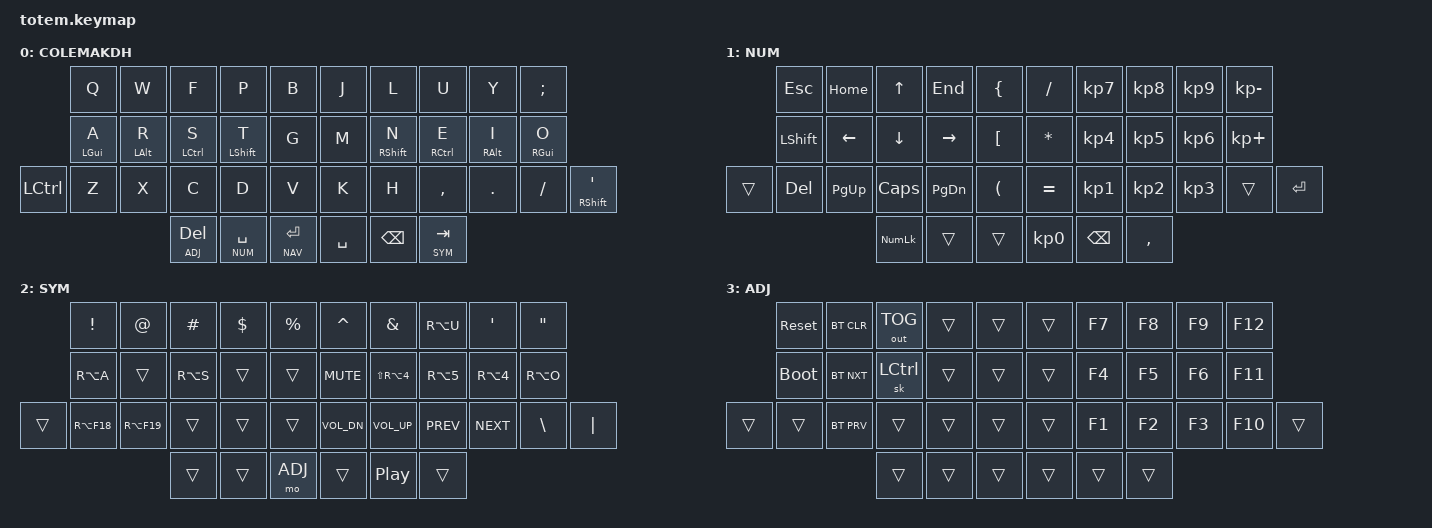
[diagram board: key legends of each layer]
//
//                                                        ▀▀▀▀▀     ▀▀▀▀▀          ▀▀█▀▀
//                                                        ▄▀▀▀▄  ▄  ▄▀▀▀▄  ▄  ▄▀▀▀▄  █  ▄▀▀▀▄
//                                                        █   █  █  █   █  █  █   █  █  █   █
//                                                         ▀▀▀   █   ▀▀▀   █   ▀▀▀   ▀   ▀▀▀
//                                                               █      ▄▄▄█▄▄▄    █   █  
//                                                               ▀      █  █  █     █▄█
//                                                             ▀▀▀▀▀    █  █  █      ▀
//                                                                      ▀  ▀  ▀
//
// ▄▄▄▄▄▄▄▄▄▄▄▄▄▄▄▄▄▄▄▄▄▄▄▄▄▄▄▄▄▄▄▄▄▄▄▄▄▄▄▄▄▄▄▄▄▄▄▄▄▄▄▄▄▄▄▄▄▄▄▄▄▄▄▄▄▄▄▄▄▄▄▄▄▄▄▄▄▄▄▄▄▄▄▄▄▄▄▄▄▄▄▄▄▄▄▄▄▄▄▄▄▄▄▄▄▄▄▄▄▄▄▄▄▄▄▄▄▄▄▄▄▄▄▄▄▄▄▄▄▄▄▄▄▄▄▄▄▄▄▄▄▄▄▄▄▄▄▄▄
       

#include <behaviors.dtsi>
#include <dt-bindings/zmk/keys.h>
#include <dt-bindings/zmk/bt.h>
#include <dt-bindings/zmk/outputs.h>

#include "./helper.h"
#include "./keypos_38keys.h"

#define ___ &trans

#define COLEMAKDH 0
#define NUM  1
#define SYM  2
#define ADJ  3
#define NAV  4

#define COMBO_TERM_FAST 14
#define COMBO_TERM_NORMAL 30
#define COMBO_TERM_SLOW 45

#define KEYS_L LT0 LT1 LT2 LT3 LT4 LM0 LM1 LM2 LM3 LM4 LB0 LB1 LB2 LB3 LB4 LB5  // left-hand keys
#define KEYS_R RT0 RT1 RT2 RT3 RT4 RM0 RM1 RM2 RM3 RM4 RB0 RB1 RB2 RB3 RB4 RB5 // right-hand keys
#define THUMBS LH2 LH1 LH0 RH0 RH1 RH2                                      // thumb keys

/* left-hand HRMs */
ZMK_BEHAVIOR(hml, hold_tap,
    flavor = "balanced";
    tapping-term-ms = <250>;
    quick-tap-ms = <175>;                // repeat on tap-into-hold
    require-prior-idle-ms = <150>;
    bindings = <&kp>, <&kp>;
    hold-trigger-key-positions = <KEYS_R THUMBS>;
    hold-trigger-on-release;             // delay positional check until key-release
)

/* right-hand HRMs */
ZMK_BEHAVIOR(hmr, hold_tap,
    flavor = "balanced";
    tapping-term-ms = <250>;
    quick-tap-ms = <175>;                // repeat on tap-into-hold
    require-prior-idle-ms = <150>;
    bindings = <&kp>, <&kp>;
    hold-trigger-key-positions = <KEYS_L THUMBS>;
    hold-trigger-on-release;             // delay positional check until key-release
)

/*                      
38 KEY MATRIX 
       
   ╭────────────────────┬────────────────────╮     
   │  0   1   2   3   4 │  5   6   7   8   9 │      
╭──╯ 10  11  12  13  14 │ 15  16  17  18  19 ╰───╮ 
│ 20 21  22  23  24  25 │ 26  27  28  29  30  31 │ 
╰──────────╮ 32  33  34 │ 35  36  37 ╭───────────╯ 
	       ╰────────────┴────────────╯             
*/
//Left
ZMK_COMBO(esc,&kp ESC,0 1,COLEMAKDH,COMBO_TERM_NORMAL)
ZMK_COMBO(lbrc,&kp LBRC,1 2,COLEMAKDH,COMBO_TERM_NORMAL)
ZMK_COMBO(rbrc,&kp RBRC,2 3,COLEMAKDH,COMBO_TERM_NORMAL)
ZMK_COMBO(lpar,&kp LPAR,11 12,COLEMAKDH,COMBO_TERM_NORMAL)
ZMK_COMBO(rpar,&kp RPAR,12 13,COLEMAKDH,COMBO_TERM_NORMAL)
ZMK_COMBO(lbkt,&kp LBKT,22 23,COLEMAKDH,COMBO_TERM_NORMAL)
ZMK_COMBO(rbkt,&kp RBKT,23 24,COLEMAKDH,COMBO_TERM_NORMAL)

//Right
ZMK_COMBO(minus,&kp MINUS,6 7,COLEMAKDH,COMBO_TERM_NORMAL)
ZMK_COMBO(under,&kp UNDER,7 8,COLEMAKDH,COMBO_TERM_NORMAL)
ZMK_COMBO(astrk,&kp ASTRK,16 17,COLEMAKDH,COMBO_TERM_NORMAL)
ZMK_COMBO(equal,&kp EQUAL,17 18,COLEMAKDH,COMBO_TERM_NORMAL)
ZMK_COMBO(less,&kp LT,27 28,COLEMAKDH,COMBO_TERM_NORMAL)
ZMK_COMBO(grtr,&kp GT,28 29,COLEMAKDH,COMBO_TERM_NORMAL)


   
/ {
        keymap {
                compatible = "zmk,keymap";
// ▄▄▄▄▄▄▄▄▄▄▄▄▄▄▄▄▄▄▄▄▄▄▄▄▄▄▄▄▄▄▄▄▄▄▄▄▄▄▄▄▄▄▄▄▄▄▄▄▄▄▄▄▄▄▄▄▄▄▄▄▄▄▄▄▄▄▄▄▄▄▄▄▄▄▄▄▄▄▄▄▄▄▄▄▄▄▄▄▄▄▄▄▄▄▄▄▄▄▄▄▄▄▄▄▄▄▄▄▄▄▄▄▄▄▄▄▄▄▄▄▄▄▄▄▄▄▄▄▄▄▄▄▄▄▄▄▄▄▄▄▄▄▄▄▄▄▄▄▄

                colemak-dh_layer {
// ┏━━━━━━━━━━━━━━━━━━━━━━━━━━━━━━━━━━━━━━━┓
label= "COLEMAKDH"                         ;
// ┗━━━━━━━━━━━━━━━━━━━━━━━━━━━━━━━━━━━━━━━┛
//             ┏━━━━━━━━━━━┳━━━━━━━━━━━┳━━━━━━━━━━━┳━━━━━━━━━━━┳━━━━━━━━━━━┓   ┏━━━━━━━━━━━┳━━━━━━━━━━━┳━━━━━━━━━━━┳━━━━━━━━━━━┳━━━━━━━━━━━┓
//             ┃     Q     ┃     W     ┃     F     ┃     P     ┃     B     ┃   ┃     J     ┃     L     ┃     U     ┃     Y     ┃     ;     ┃
//             ┣━━━━━━━━━━━╋━━━━━━━━━━━╋━━━━━━━━━━━╋━━━━━━━━━━━╋━━━━━━━━━━━┫   ┣━━━━━━━━━━━╋━━━━━━━━━━━╋━━━━━━━━━━━╋━━━━━━━━━━━╋━━━━━━━━━━━┫
//             ┃     A     ┃     R     ┃     S     ┃     T     ┃     G     ┃   ┃     M     ┃     N     ┃     E     ┃     I     ┃     O     ┃
// ┏━━━━━━━━━━━╋━━━━━━━━━━━╋━━━━━━━━━━━╋━━━━━━━━━━━╋━━━━━━━━━━━╋━━━━━━━━━━━┫   ┣━━━━━━━━━━━╋━━━━━━━━━━━╋━━━━━━━━━━━╋━━━━━━━━━━━╋━━━━━━━━━━━╋━━━━━━━━━━━┓
// ┃     Q     ┃     Z     ┃     X     ┃     C     ┃     D     ┃     V     ┃   ┃     K     ┃     H     ┃     ,     ┃     .     ┃     /     ┃     "     ┃
// ┗━━━━━━━━━━━┻━━━━━━━━━━━┻━━━━━━━━━━━╋━━━━━━━━━━━╋━━━━━━━━━━━╋━━━━━━━━━━━┫   ┣━━━━━━━━━━━╋━━━━━━━━━━━╋━━━━━━━━━━━╋━━━━━━━━━━━┻━━━━━━━━━━━┻━━━━━━━━━━━┛
//                                     ┃    DEL    ┃   SPACE   ┃   ENTER   ┃   ┃   SPACE   ┃    BSPC   ┃   TAB     ┃
//                                     ┗━━━━━━━━━━━┻━━━━━━━━━━━┻━━━━━━━━━━━┛   ┗━━━━━━━━━━━┻━━━━━━━━━━━┻━━━━━━━━━━━┛
 bindings = <
// ╷           ╷           ╷           ╷           ╷           ╷           ╷   ╷           ╷           ╷           ╷           ╷           ╷           ╷

                &kp Q        &kp W        &kp F        &kp P         &kp B           &kp J          &kp L         &kp U        &kp Y        &kp SEMI
                &hml LGUI A  &hml LALT R  &hml LCTRL S &hml LSHFT T  &kp G           &kp M          &hmr RSHFT N  &hmr RCTRL E &hmr RALT I  &hmr RGUI O
    &kp LCTRL   &kp Z        &kp X        &kp C        &kp D         &kp V           &kp K          &kp H         &kp COMMA    &kp DOT      &kp FSLH     &hmr RSHIFT APOS
                                          &lt ADJ DEL  &lt NUM SPACE &lt NAV RET     &kp SPACE      &kp BSPC      &lt SYM TAB
                        >;
                };

// ▄▄▄▄▄▄▄▄▄▄▄▄▄▄▄▄▄▄▄▄▄▄▄▄▄▄▄▄▄▄▄▄▄▄▄▄▄▄▄▄▄▄▄▄▄▄▄▄▄▄▄▄▄▄▄▄▄▄▄▄▄▄▄▄▄▄▄▄▄▄▄▄▄▄▄▄▄▄▄▄▄▄▄▄▄▄▄▄▄▄▄▄▄▄▄▄▄▄▄▄▄▄▄▄▄▄▄▄▄▄▄▄▄▄▄▄▄▄▄▄▄▄▄▄▄▄▄▄▄▄▄▄▄▄▄▄▄▄▄▄▄▄▄▄▄▄▄▄▄


                num_layer {
// ┏━━━━━━━━━━━━━━━━━━━━━━━━━━━━━━━━━━━━━━━┓
label= "NUM"                              ;
// ┗━━━━━━━━━━━━━━━━━━━━━━━━━━━━━━━━━━━━━━━┛
//             ┏━━━━━━━━━━━┳━━━━━━━━━━━┳━━━━━━━━━━━┳━━━━━━━━━━━┳━━━━━━━━━━━┓   ┏━━━━━━━━━━━┳━━━━━━━━━━━┳━━━━━━━━━━━┳━━━━━━━━━━━┳━━━━━━━━━━━┓
//             ┃    ESC    ┃   HOME    ┃     UP    ┃    END    ┃     {     ┃   ┃     /     ┃     7     ┃     8     ┃     9     ┃     -     ┃
//             ┣━━━━━━━━━━━╋━━━━━━━━━━━╋━━━━━━━━━━━╋━━━━━━━━━━━╋━━━━━━━━━━━┫   ┣━━━━━━━━━━━╋━━━━━━━━━━━╋━━━━━━━━━━━╋━━━━━━━━━━━╋━━━━━━━━━━━┫
//             ┃   SHIFT   ┃   LEFT    ┃    DOWN   ┃   RIGHT   ┃     [     ┃   ┃     *     ┃     4     ┃     5     ┃     6     ┃     +     ┃
// ┏━━━━━━━━━━━╋━━━━━━━━━━━╋━━━━━━━━━━━╋━━━━━━━━━━━╋━━━━━━━━━━━╋━━━━━━━━━━━┫   ┣━━━━━━━━━━━╋━━━━━━━━━━━╋━━━━━━━━━━━╋━━━━━━━━━━━╋━━━━━━━━━━━╋━━━━━━━━━━━┓
// ┃           ┃     DEL   ┃   P UP    ┃  C LOCK   ┃  P DOWN   ┃     (     ┃   ┃     =     ┃     1     ┃     2     ┃     3     ┃           ┃    RET    ┃
// ┗━━━━━━━━━━━┻━━━━━━━━━━━┻━━━━━━━━━━━╋━━━━━━━━━━━╋━━━━━━━━━━━╋━━━━━━━━━━━┫   ┣━━━━━━━━━━━╋━━━━━━━━━━━╋━━━━━━━━━━━╋━━━━━━━━━━━┻━━━━━━━━━━━┻━━━━━━━━━━━┛
//                                     ┃    NUM    ┃    TAB    ┃    SPC    ┃   ┃     0     ┃    BSPC   ┃     ,     ┃
//                                     ┗━━━━━━━━━━━┻━━━━━━━━━━━┻━━━━━━━━━━━┛   ┗━━━━━━━━━━━┻━━━━━━━━━━━┻━━━━━━━━━━━┛
 bindings = <
// ╷           ╷           ╷           ╷           ╷           ╷           ╷   ╷           ╷           ╷           ╷           ╷           ╷           ╷

                &kp ESC     &kp HOME    &kp UP        &kp END     &kp LBRC        &kp FSLH    &kp KP_N7   &kp KP_N8   &kp KP_N9   &kp KP_MINUS
                &kp LSHFT   &kp LEFT    &kp DOWN      &kp RIGHT   &kp LBKT        &kp ASTRK   &kp KP_N4   &kp KP_N5   &kp KP_N6   &kp KP_PLUS
    &trans      &kp DEL     &kp PG_UP   &kp CAPS      &kp PG_DN   &kp LPAR        &kp EQUAL   &kp KP_N1   &kp KP_N2   &kp KP_N3   &trans       &kp RET      
                                        &kp KP_NLCK   &trans      &trans          &kp KP_N0   &kp BSPC    &kp COMMA      
                        >;
                };

// ▄▄▄▄▄▄▄▄▄▄▄▄▄▄▄▄▄▄▄▄▄▄▄▄▄▄▄▄▄▄▄▄▄▄▄▄▄▄▄▄▄▄▄▄▄▄▄▄▄▄▄▄▄▄▄▄▄▄▄▄▄▄▄▄▄▄▄▄▄▄▄▄▄▄▄▄▄▄▄▄▄▄▄▄▄▄▄▄▄▄▄▄▄▄▄▄▄▄▄▄▄▄▄▄▄▄▄▄▄▄▄▄▄▄▄▄▄▄▄▄▄▄▄▄▄▄▄▄▄▄▄▄▄▄▄▄▄▄▄▄▄▄▄▄▄▄▄▄▄


                sim_layer {
// ┏━━━━━━━━━━━━━━━━━━━━━━━━━━━━━━━━━━━━━━━┓
label= "SYM"                               ;
// ┗━━━━━━━━━━━━━━━━━━━━━━━━━━━━━━━━━━━━━━━┛
//             ┏━━━━━━━━━━━┳━━━━━━━━━━━┳━━━━━━━━━━━┳━━━━━━━━━━━┳━━━━━━━━━━━┓   ┏━━━━━━━━━━━┳━━━━━━━━━━━┳━━━━━━━━━━━┳━━━━━━━━━━━┳━━━━━━━━━━━┓
//             ┃     !     ┃     @     ┃     #     ┃     $     ┃     %     ┃   ┃     ˆ     ┃     &     ┃     Ü     ┃     '     ┃     "     ┃
//             ┣━━━━━━━━━━━╋━━━━━━━━━━━╋━━━━━━━━━━━╋━━━━━━━━━━━╋━━━━━━━━━━━┫   ┣━━━━━━━━━━━╋━━━━━━━━━━━╋━━━━━━━━━━━╋━━━━━━━━━━━╋━━━━━━━━━━━┫
//             ┃     Ä     ┃           ┃    SZ     ┃           ┃           ┃   ┃   MUTE    ┃   YEN     ┃   EURO    ┃  POUND    ┃     Ö     ┃
// ┏━━━━━━━━━━━╋━━━━━━━━━━━╋━━━━━━━━━━━╋━━━━━━━━━━━╋━━━━━━━━━━━╋━━━━━━━━━━━┫   ┣━━━━━━━━━━━╋━━━━━━━━━━━╋━━━━━━━━━━━╋━━━━━━━━━━━╋━━━━━━━━━━━╋━━━━━━━━━━━┓
// ┃           ┃  EMAIL1   ┃  EMAIL2   ┃           ┃           ┃           ┃   ┃   VOL-    ┃   VOL+    ┃   LAST    ┃   NEXT    ┃     \     ┃    ┃      ┃
// ┗━━━━━━━━━━━┻━━━━━━━━━━━┻━━━━━━━━━━━╋━━━━━━━━━━━╋━━━━━━━━━━━╋━━━━━━━━━━━┫   ┣━━━━━━━━━━━╋━━━━━━━━━━━╋━━━━━━━━━━━╋━━━━━━━━━━━┻━━━━━━━━━━━┻━━━━━━━━━━━┛
//                                     ┃           ┃           ┃    ADJ    ┃   ┃           ┃           ┃           ┃
//                                     ┗━━━━━━━━━━━┻━━━━━━━━━━━┻━━━━━━━━━━━┛   ┗━━━━━━━━━━━┻━━━━━━━━━━━┻━━━━━━━━━━━┛
 bindings = <
// ╷           ╷           ╷           ╷           ╷           ╷           ╷   ╷           ╷           ╷           ╷           ╷           ╷           ╷

                &kp EXCL    &kp AT      &kp HASH    &kp DLLR    &kp PRCNT       &kp CARET   &kp AMPS    &kp RA(U)   &kp SQT     &kp DQT       
                &kp RA(A)   &trans      &kp RA(S)   &trans      &trans          &kp C_MUTE  &kp LS(RA(N4)) &kp RA(N5) &kp RA(N4)   &kp RA(O) 
    &trans      &kp RA(F18) &kp RA(F19) &trans      &trans      &trans          &kp C_VOL_DN &kp C_VOL_UP &kp C_PREV &kp C_NEXT  &kp BSLH   &kp PIPE         
                                        &trans      &trans      &mo ADJ         &trans      &kp C_PP    &trans      
                        >;
                };

// ▄▄▄▄▄▄▄▄▄▄▄▄▄▄▄▄▄▄▄▄▄▄▄▄▄▄▄▄▄▄▄▄▄▄▄▄▄▄▄▄▄▄▄▄▄▄▄▄▄▄▄▄▄▄▄▄▄▄▄▄▄▄▄▄▄▄▄▄▄▄▄▄▄▄▄▄▄▄▄▄▄▄▄▄▄▄▄▄▄▄▄▄▄▄▄▄▄▄▄▄▄▄▄▄▄▄▄▄▄▄▄▄▄▄▄▄▄▄▄▄▄▄▄▄▄▄▄▄▄▄▄▄▄▄▄▄▄▄▄▄▄▄▄▄▄▄▄▄▄


                adjust_layer {
// ┏━━━━━━━━━━━━━━━━━━━━━━━━━━━━━━━━━━━━━━━┓
label= "ADJ"                               ;
// ┗━━━━━━━━━━━━━━━━━━━━━━━━━━━━━━━━━━━━━━━┛
//             ┏━━━━━━━━━━━┳━━━━━━━━━━━┳━━━━━━━━━━━┳━━━━━━━━━━━┳━━━━━━━━━━━┓   ┏━━━━━━━━━━━┳━━━━━━━━━━━┳━━━━━━━━━━━┳━━━━━━━━━━━┳━━━━━━━━━━━┓
//             ┃   RESET   ┃ BT CLEAR  ┃  OUT TOG  ┃           ┃           ┃   ┃           ┃    F7     ┃    F8     ┃    F9     ┃    F12    ┃
//             ┣━━━━━━━━━━━╋━━━━━━━━━━━╋━━━━━━━━━━━╋━━━━━━━━━━━╋━━━━━━━━━━━┫   ┣━━━━━━━━━━━╋━━━━━━━━━━━╋━━━━━━━━━━━╋━━━━━━━━━━━╋━━━━━━━━━━━┫
//             ┃ BOOTLOAD  ┃ BT NEXT   ┃   LCTRL   ┃           ┃           ┃   ┃           ┃    F4     ┃    F5     ┃    F6     ┃    F11    ┃
// ┏━━━━━━━━━━━╋━━━━━━━━━━━╋━━━━━━━━━━━╋━━━━━━━━━━━╋━━━━━━━━━━━╋━━━━━━━━━━━┫   ┣━━━━━━━━━━━╋━━━━━━━━━━━╋━━━━━━━━━━━╋━━━━━━━━━━━╋━━━━━━━━━━━╋━━━━━━━━━━━┓
// ┃           ┃           ┃ BT PREV   ┃           ┃           ┃           ┃   ┃           ┃    F1     ┃    F2     ┃    F3     ┃    F10    ┃           ┃
// ┗━━━━━━━━━━━┻━━━━━━━━━━━┻━━━━━━━━━━━╋━━━━━━━━━━━╋━━━━━━━━━━━╋━━━━━━━━━━━┫   ┣━━━━━━━━━━━╋━━━━━━━━━━━╋━━━━━━━━━━━╋━━━━━━━━━━━┻━━━━━━━━━━━┻━━━━━━━━━━━┛
//                                     ┃           ┃           ┃           ┃   ┃           ┃           ┃           ┃
//                                     ┗━━━━━━━━━━━┻━━━━━━━━━━━┻━━━━━━━━━━━┛   ┗━━━━━━━━━━━┻━━━━━━━━━━━┻━━━━━━━━━━━┛
 bindings = <
// ╷           ╷           ╷           ╷           ╷           ╷           ╷   ╷           ╷           ╷           ╷           ╷           ╷           ╷

                &sys_reset  &bt BT_CLR &out OUT_TOG &trans      &trans          &trans      &kp F7      &kp F8      &kp F9      &kp F12
                &bootloader &bt BT_NXT  &sk LCTRL   &trans      &trans          &trans      &kp F4      &kp F5      &kp F6      &kp F11  
    &trans      &trans      &bt BT_PRV  &trans      &trans      &trans          &trans      &kp F1      &kp F2      &kp F3      &kp F10     &trans         
                                        &trans      &trans      &trans          &trans      &trans      &trans      
                        >;
                };
        };
};

ZMK_LAYER(nav_layer,
     	   //   ╭─────────────┬─────────────┬─────────────┬─────────────┬─────────────╮   ╭─────────────┬─────────────┬─────────────┬─────────────┬─────────────╮
     	             ___           ___           ___           ___           ___             &kp PG_UP     &kp HOME      &kp UP        &kp END       &kp INS
  	   //   ├─────────────┼─────────────┼─────────────┼─────────────┼─────────────┤   ├─────────────┼─────────────┼─────────────┼─────────────┼─────────────┤
 	           &sk LGUI      &sk LALT      &sk LCTRL     &sk LSHFT       ___             &kp PG_DN     &kp LEFT      &kp DOWN      &kp RIGHT     &kp DEL
//╭─────────────├─────────────┼─────────────┼─────────────┼─────────────┼─────────────┤   ├─────────────┼─────────────┼─────────────┼─────────────┼─────────────┤─────────────╮
      ___ 	   ___           ___           ___           ___           ___               ___           &kp LC(X)     &kp LC(INS)   &kp LS(INS)      ___            ___
//╰─────────────├─────────────┼─────────────┼─────────────┼─────────────┼─────────────┤   ├─────────────┼─────────────┼─────────────┼─────────────┼─────────────┤─────────────╯
                                               ___           ___           ___               ___           &kp DELETE       ___
     //                                     ╰─────────────┴─────────────┴─────────────╯   ╰─────────────┴─────────────┴─────────────╯
)
